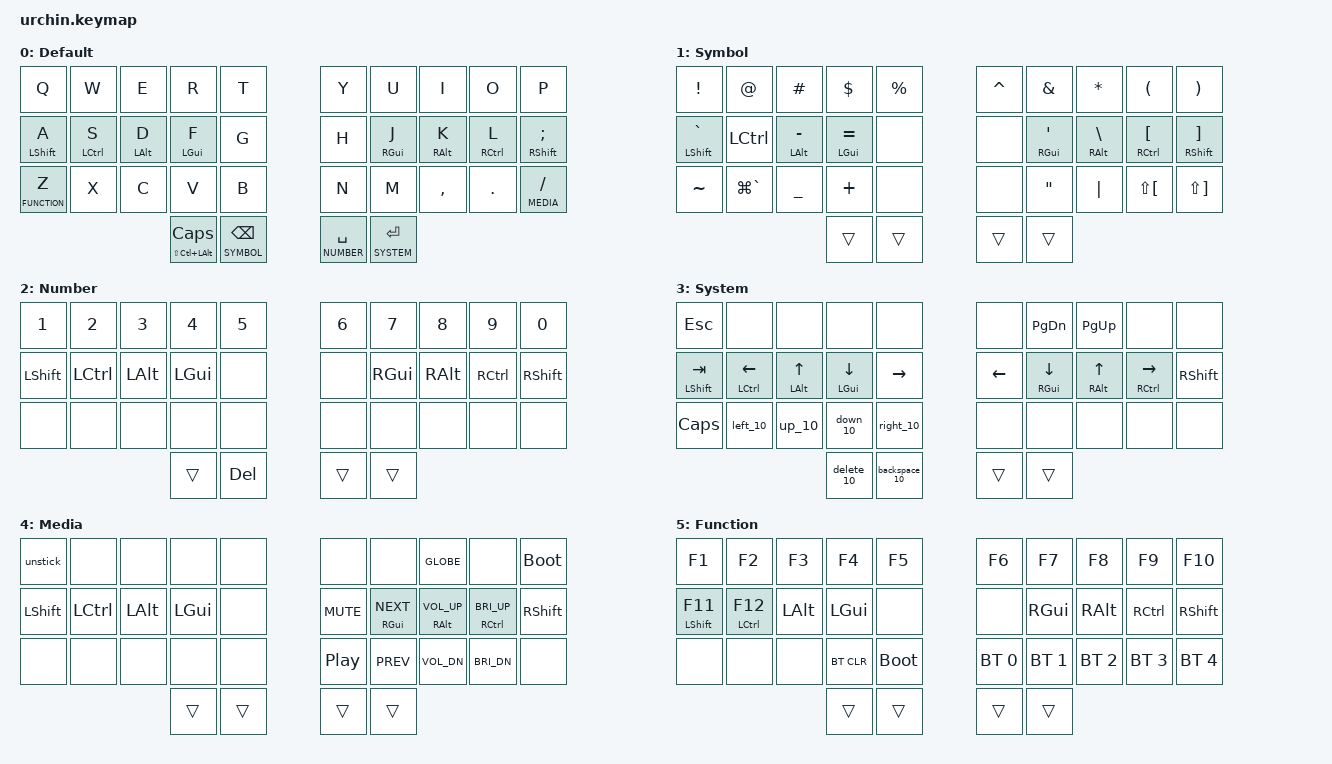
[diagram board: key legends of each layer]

/*
 * Copyright (c) 2020 duckyb
 *
 * SPDX-License-Identifier: MIT
 */

#include <behaviors.dtsi>
#include <dt-bindings/zmk/keys.h>
#include <dt-bindings/zmk/bt.h>
#include <dt-bindings/zmk/outputs.h>

// Layer definitions
#define BASE 0
#define SYMBOL 1
#define NUMBER 2
#define SYSTEM 3
#define MEDIA 4
#define FUNCTION 5
// -----------------

&mt {
    flavor = "balanced";
    tapping-term-ms = <150>;
};

&lt {
    flavor = "balanced";
    tapping-term-ms = <150>;
};
&sk {
	// don't release mods on other mods presses
	ignore-modifiers;
};


/ {
    #define TAPHOLD_SYMBOL(NAME, TAP, HOLD) \
         NAME: NAME { \
            compatible = "zmk,behavior-hold-tap"; \
            label = ZMK_MACRO_STRINGIFY(NAME); \
            #binding-cells = <2>; \
            tapping-term-ms = <TAPPING_TERM>; \
            flavor = "tap-preferred"; \
            quick-tap-ms = <QUICK_TAP_TERM>; \
            require-prior-idle-ms = <QUICK_TAP_TERM>; \
            bindings = <HOLD>, <TAP>; \
        };

	macros {
		// sometimes my device thinks a modifier is being held down
		// pressing all modifiers fixes it.
		unstick: unstick {
			label = "ZM_unstick";
			compatible = "zmk,behavior-macro";
			#binding-cells = <0>;
			bindings = <&kp LSHIFT &kp RSHIFT &kp LCTRL &kp RCTRL &kp LALT &kp RALT &kp LGUI &kp RGUI>;
		};
		left_10: left_10 {
			label = "left_10";
			compatible = "zmk,behavior-macro";
			#binding-cells = <0>;
			wait-ms = <1>;
			bindings = <&kp LEFT>, <&kp LEFT>, <&kp LEFT>, <&kp LEFT>, <&kp LEFT>, <&kp LEFT>, <&kp LEFT>, <&kp LEFT>, <&kp LEFT>, <&kp LEFT>;
		};
		right_10: right_10 {
			label = "right_10";
			compatible = "zmk,behavior-macro";
			#binding-cells = <0>;
			wait-ms = <1>;
			bindings = <&kp RIGHT>, <&kp RIGHT>, <&kp RIGHT>, <&kp RIGHT>, <&kp RIGHT>, <&kp RIGHT>, <&kp RIGHT>, <&kp RIGHT>, <&kp RIGHT>, <&kp RIGHT>;
		};
		up_10: up_10 {
			label = "up_10";
			compatible = "zmk,behavior-macro";
			#binding-cells = <0>;
			wait-ms = <1>;
			bindings = <&kp UP>, <&kp UP>, <&kp UP>, <&kp UP>, <&kp UP>, <&kp UP>, <&kp UP>, <&kp UP>, <&kp UP>, <&kp UP>;
		};
		down_10: down_10 {
			label = "down_10";
			compatible = "zmk,behavior-macro";
			#binding-cells = <0>;
			wait-ms = <1>;
			bindings = <&kp DOWN>, <&kp DOWN>, <&kp DOWN>, <&kp DOWN>, <&kp DOWN>, <&kp DOWN>, <&kp DOWN>, <&kp DOWN>, <&kp DOWN>, <&kp DOWN>;
		};
		backspace_10: backspace_10 {
			label = "backspace_10";
			compatible = "zmk,behavior-macro";
			#binding-cells = <0>;
			wait-ms = <1>;
			bindings = <&kp BACKSPACE>, <&kp BACKSPACE>, <&kp BACKSPACE>, <&kp BACKSPACE>, <&kp BACKSPACE>, <&kp BACKSPACE>, <&kp BACKSPACE>, <&kp BACKSPACE>, <&kp BACKSPACE>, <&kp BACKSPACE>;
		};
		delete_10: delete_10 {
			label = "delete_10";
			compatible = "zmk,behavior-macro";
			#binding-cells = <0>;
			wait-ms = <1>;
			bindings = <&kp DELETE>, <&kp DELETE>, <&kp DELETE>, <&kp DELETE>, <&kp DELETE>, <&kp DELETE>, <&kp DELETE>, <&kp DELETE>, <&kp DELETE>, <&kp DELETE>;
		};
	};

	keymap {
		compatible = "zmk,keymap";

		default_layer {
			label = "Default";
			bindings = <
			&kp Q &kp W &kp E &kp R &kp T    						&kp Y &kp U &kp I &kp O &kp P
			&mt LSHFT A &mt LCTRL S &mt LALT D &mt LGUI F &kp G		&kp H &mt RGUI J &mt RALT K &mt RCTRL L &mt RSHFT SEMI
			&lt FUNCTION Z &kp X &kp C &kp V &kp B   				&kp N &kp M &kp COMMA &kp DOT &lt MEDIA SLASH
			&mt LS(LC(LALT)) CAPS &lt SYMBOL BSPC    				&lt NUMBER SPACE &lt SYSTEM ENTER
			>;
		};

		symbol_layer {
			label = "Symbol";
			bindings = <
			&kp EXCL &kp AT &kp HASH &kp DLLR &kp PRCNT							&kp CARET &kp AMPERSAND &kp STAR &kp LPAR &kp RPAR
			&mt LSHFT GRAVE &kp LCTRL &mt LALT MINUS &mt LGUI EQUAL &none		&none &mt RGUI SINGLE_QUOTE &mt RALT BACKSLASH &mt RCTRL LBKT &mt RSHFT RBKT
			&kp TILDE &kp LG(GRAVE) &kp UNDER &kp PLUS &none    				&none &kp DOUBLE_QUOTES &kp PIPE &kp LS(LBKT) &kp LS(RBKT)
			&trans &trans    													&trans &trans
			>;
		};

		number_layer {
			label = "Number";
			bindings = <
			&kp N1 &kp N2 &kp N3 &kp N4 &kp N5				&kp N6 &kp N7 &kp N8 &kp N9 &kp N0
			&kp LSHFT &kp LCTRL &kp LALT &kp LGUI &none    	&none &kp RGUI &kp RALT &kp RCTRL &kp RSHFT
			&none &none &none &none &none					&none &none &none &none &none
			&trans &kp DEL    								&trans &trans
			>;
		};

		system_layer {
			label = "System";
			bindings = <
			&kp ESC &none &none &none &none    									&none &kp PG_DN &kp PG_UP &none &none
			&mt LSHFT TAB &mt LCTRL LEFT &mt LALT UP &mt LGUI DOWN &kp RIGHT	&kp LEFT &mt RGUI DOWN &mt RALT UP &mt RCTRL RIGHT &kp RSHFT
			&kp CAPS &left_10 &up_10 &down_10 &right_10    						&none &none &none &none &none
			&delete_10 &backspace_10    										&trans &trans
			>;
		};

		media_layer {
			label = "Media";
			bindings = <
			&unstick &none &none &none &none				&none &none &kp GLOBE &none &bootloader
			&kp LSHFT &kp LCTRL &kp LALT &kp LGUI &none  	&kp C_MUTE &mt RGUI C_NEXT &mt RALT C_VOL_UP &mt RCTRL C_BRI_UP &kp RSHFT
			&none &none &none &none &none					&kp C_PLAY_PAUSE &kp C_PREV &kp C_VOL_DN &kp C_BRI_DN &none
			&trans &trans    								&trans &trans
			>;
		};

		function_layer {
			label = "Function";
			bindings = <
			&kp F1 &kp F2 &kp F3 &kp F4 &kp F5    					&kp F6 &kp F7 &kp F8 &kp F9 &kp F10
			&mt LSHFT F11 &mt LCTRL F12 &kp LALT &kp LGUI &none		&none &kp RGUI &kp RALT &kp RCTRL &kp RSHFT
			&none &none &none &bt BT_CLR &bootloader    			&bt BT_SEL 0 &bt BT_SEL 1 &bt BT_SEL 2 &bt BT_SEL 3 &bt BT_SEL 4
			&trans &trans    										&trans &trans
			>;
		};
	};
};
